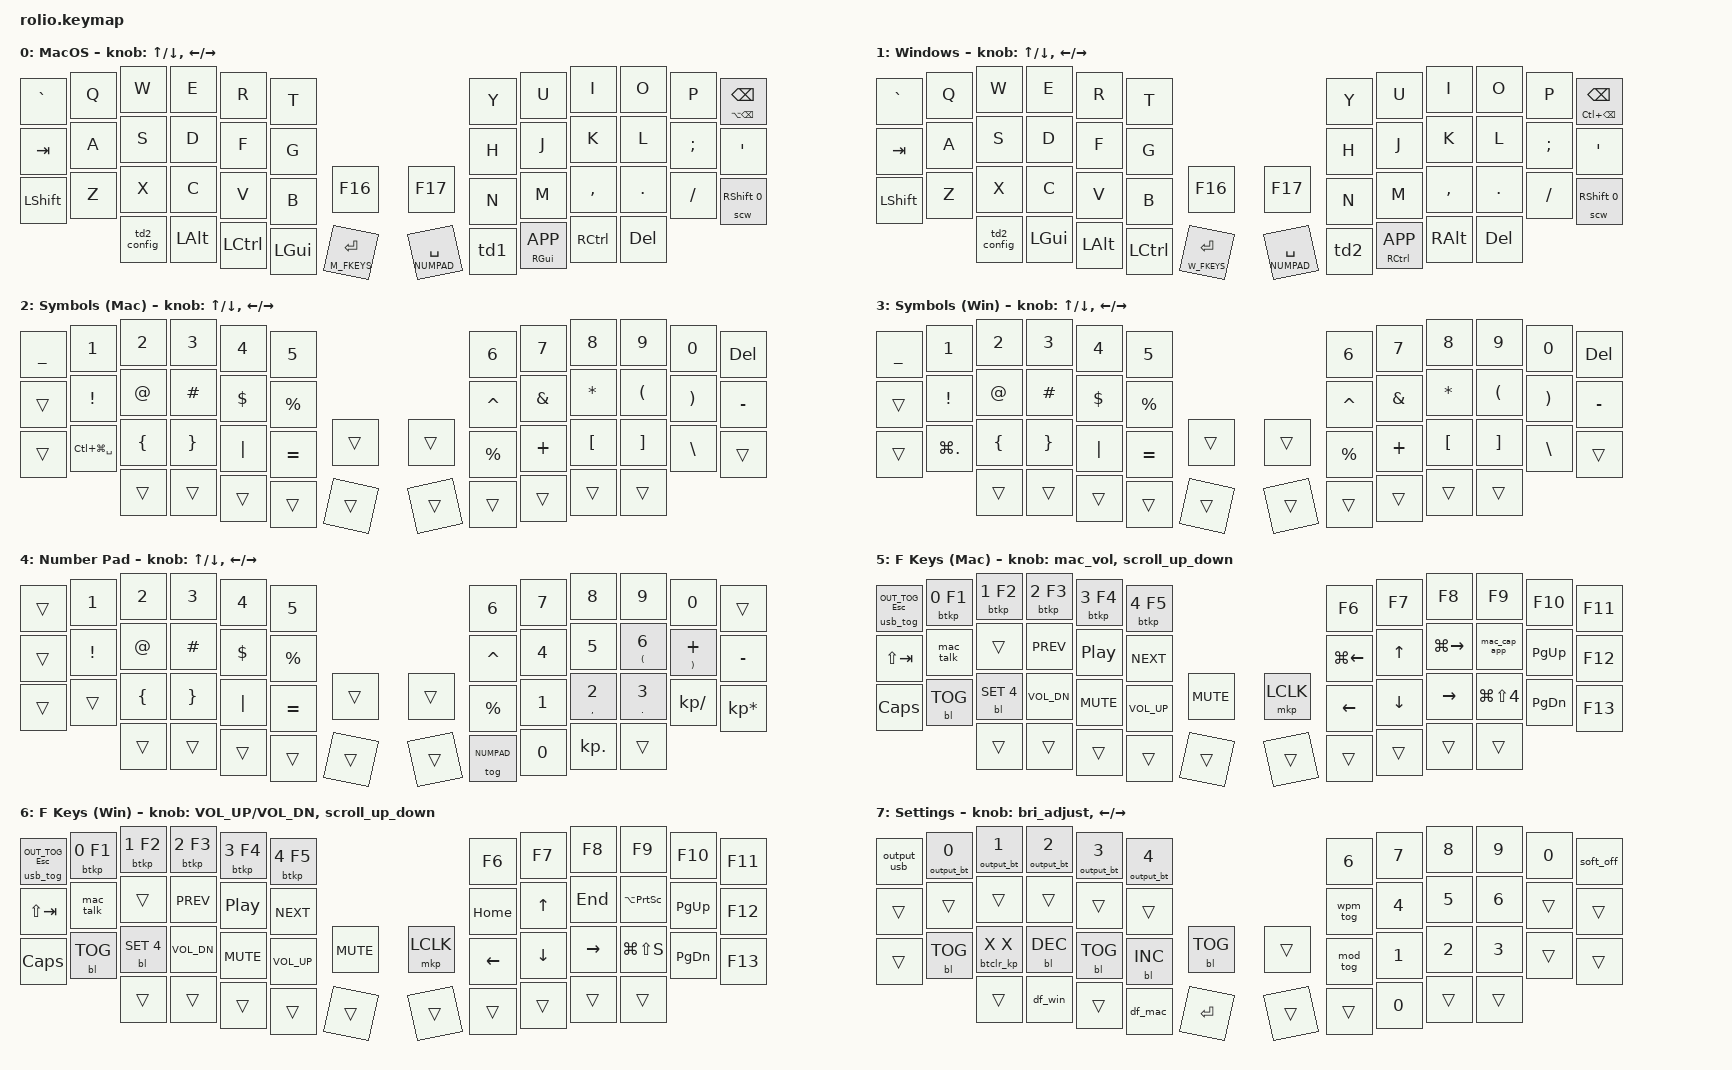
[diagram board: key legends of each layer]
/*
 * Copyright (c) 2023 The ZMK Contributors
 *
 * SPDX-License-Identifier: MIT
 */

#include <behaviors.dtsi>
#include <dt-bindings/zmk/keys.h>
#include <dt-bindings/zmk/bt.h>
#include <dt-bindings/zmk/outputs.h>
#include <dt-bindings/zmk/backlight.h>
#include "elpekenin/behaviors.dtsi"

#define ZMK_POINTING_DEFAULT_SCRL_VAL 100
#include <dt-bindings/zmk/pointing.h>

// Helpful macros borrowed from AndrewMSHowe
#define ___ &trans

// Layer numbers for use by the keymap & macros
#define MACOS     0
#define WINDOWS   1
#define M_SYMBOLS 2
#define W_SYMBOLS 3
#define NUMPAD    4
#define M_FKEYS   5
#define W_FKEYS   6
#define KB_CONFIG 7

#include "keymap_behaviors.dtsi"
#include "keymap_macros.dtsi"

/ {

    keymap {
        compatible = "zmk,keymap";

        default_layer {
            display-name = "MacOS";
            sensor-bindings = <&inc_dec_kp UP DOWN &inc_dec_kp LEFT RIGHT>;
            bindings = <
//  ╭──────────────────────────┬─────────────────┬─────────────────┬─────────────────┬─────────────────┬─────────────────╮                                          ╭─────────────────┬─────────────────┬─────────────────┬─────────────────┬─────────────────┬────────────────────╮
  /*|*/      &kp GRAVE                &kp Q             &kp W             &kp E             &kp R             &kp T    /*|                                          |*/    &kp Y             &kp U             &kp I             &kp O             &kp P       &mt LA(BSPC) BSPC /*|*/
  /*|*/       &kp TAB                 &kp A             &kp S             &kp D             &kp F             &kp G    /*├─────────────────╮      ╭─────────────────┤*/    &kp H             &kp J             &kp K             &kp L            &kp SEMI           &kp SQT     /*|*/
  /*|*/      &kp LSHIFT               &kp Z             &kp X             &kp C             &kp V             &kp B            &kp F16                  &kp F17            &kp N             &kp M           &kp COMMA          &kp DOT           &kp FSLH        &scw RSHIFT 0  /*|*/
  /*╰──────────────────────────┴─────────────────┴*/ &td2_config         &kp LALT         &kp LCTRL          &kp LGUI     &lt M_FKEYS ENTER         &lt NUMPAD SPACE        &td1         &mt RGUI K_APP      &kp RCTRL          &kp DEL   /*┴─────────────────┴────────────────────╯*/
//                                               ╰─────────────────┴─────────────────┴─────────────────┴─────────────────┴─────────────────╯      ╰─────────────────┴─────────────────┴─────────────────┴─────────────────┴─────────────────╯
            >;
        };

        windows_default_layer {
            display-name = "Windows";
            sensor-bindings = <&inc_dec_kp UP DOWN &inc_dec_kp LEFT RIGHT>;
            bindings = <
//  ╭──────────────────────────┬─────────────────┬─────────────────┬─────────────────┬─────────────────┬─────────────────╮                                          ╭─────────────────┬─────────────────┬─────────────────┬─────────────────┬─────────────────┬────────────────────╮
  /*|*/      &kp GRAVE                &kp Q             &kp W             &kp E             &kp R             &kp T    /*|                                          |*/    &kp Y             &kp U             &kp I             &kp O             &kp P       &mt LC(BSPC) BSPC /*|*/
  /*|*/       &kp TAB                 &kp A             &kp S             &kp D             &kp F             &kp G    /*├─────────────────╮      ╭─────────────────┤*/    &kp H             &kp J             &kp K             &kp L            &kp SEMI           &kp SQT     /*|*/
  /*|*/      &kp LSHIFT               &kp Z             &kp X             &kp C             &kp V             &kp B            &kp F16                  &kp F17            &kp N             &kp M           &kp COMMA          &kp DOT           &kp FSLH        &scw RSHIFT 0  /*|*/
  /*╰──────────────────────────┴─────────────────┴*/ &td2_config         &kp LGUI          &kp LALT         &kp LCTRL     &lt W_FKEYS ENTER         &lt NUMPAD SPACE        &td2        &mt RCTRL K_APP       &kp RALT          &kp DEL   /*┴─────────────────┴────────────────────╯*/
//                                               ╰─────────────────┴─────────────────┴─────────────────┴─────────────────┴─────────────────╯      ╰─────────────────┴─────────────────┴─────────────────┴─────────────────┴─────────────────╯
            >;
        };

        macos_symbols_layer {
            display-name = "Symbols (Mac)";
            sensor-bindings = <&inc_dec_kp UP DOWN &inc_dec_kp LEFT RIGHT>;
            bindings = <
//  ╭──────────────────────────┬─────────────────┬─────────────────┬─────────────────┬─────────────────┬─────────────────╮                                          ╭─────────────────┬─────────────────┬─────────────────┬─────────────────┬─────────────────┬────────────────────╮
  /*|*/      &kp UNDER                &kp N1            &kp N2            &kp N3            &kp N4            &kp N5   /*|                                          |*/    &kp N6            &kp N7            &kp N8            &kp N9            &kp N0            &kp DEL     /*|*/
  /*|*/         ___                  &kp EXCL           &kp AT           &kp HASH          &kp DLLR         &kp PRCNT  /*├─────────────────╮      ╭─────────────────┤*/  &kp CARET       &kp AMPERSAND        &kp STAR          &kp LPAR          &kp RPAR          &kp MINUS    /*|*/
  /*|*/         ___             &kp LC(LG(SPACE))   &kp LEFT_BRACE   &kp RIGHT_BRACE       &kp PIPE         &kp EQUAL            ___                      ___            &kp PRCNT          &kp PLUS          &kp LBKT          &kp RBKT       &kp BACKSLASH           ___       /*|*/
  /*╰──────────────────────────┴─────────────────┴*/     ___               ___               ___               ___               ___                      ___               ___               ___               ___               ___     /*┴─────────────────┴────────────────────╯*/
//                                               ╰─────────────────┴─────────────────┴─────────────────┴─────────────────┴─────────────────╯      ╰─────────────────┴─────────────────┴─────────────────┴─────────────────┴─────────────────╯
            >;
        };

        windows_symbols_layer {
            display-name = "Symbols (Win)";
            sensor-bindings = <&inc_dec_kp UP DOWN &inc_dec_kp LEFT RIGHT>;
            bindings = <
//  ╭──────────────────────────┬─────────────────┬─────────────────┬─────────────────┬─────────────────┬─────────────────╮                                          ╭─────────────────┬─────────────────┬─────────────────┬─────────────────┬─────────────────┬────────────────────╮
  /*|*/      &kp UNDER                &kp N1            &kp N2            &kp N3            &kp N4            &kp N5   /*|                                          |*/    &kp N6            &kp N7            &kp N8            &kp N9            &kp N0            &kp DEL     /*|*/
  /*|*/         ___                  &kp EXCL           &kp AT           &kp HASH          &kp DLLR         &kp PRCNT  /*├─────────────────╮      ╭─────────────────┤*/  &kp CARET       &kp AMPERSAND        &kp STAR          &kp LPAR          &kp RPAR          &kp MINUS    /*|*/
  /*|*/         ___                &kp LG(DOT)      &kp LEFT_BRACE   &kp RIGHT_BRACE       &kp PIPE         &kp EQUAL            ___                      ___            &kp PRCNT          &kp PLUS          &kp LBKT          &kp RBKT       &kp BACKSLASH           ___       /*|*/
  /*╰──────────────────────────┴─────────────────┴*/     ___               ___               ___               ___               ___                      ___               ___               ___               ___               ___     /*┴─────────────────┴────────────────────╯*/
//                                               ╰─────────────────┴─────────────────┴─────────────────┴─────────────────┴─────────────────╯      ╰─────────────────┴─────────────────┴─────────────────┴─────────────────┴─────────────────╯
            >;
        };

        numpad_layer {
            display-name = "Number Pad";
            sensor-bindings = <&inc_dec_kp UP DOWN &inc_dec_kp LEFT RIGHT>;
            bindings = <
//  ╭──────────────────────────┬─────────────────┬─────────────────┬─────────────────┬─────────────────┬─────────────────╮                                          ╭─────────────────┬─────────────────┬─────────────────┬─────────────────┬─────────────────┬────────────────────╮
  /*|*/         ___                   &kp N1            &kp N2            &kp N3            &kp N4            &kp N5   /*|                                          |*/    &kp N6            &kp N7            &kp N8            &kp N9            &kp N0              ___       /*|*/
  /*|*/         ___                  &kp EXCL           &kp AT           &kp HASH          &kp DLLR         &kp PRCNT  /*├─────────────────╮      ╭─────────────────┤*/  &kp CARET           &kp N4            &kp N5         &mt LPAR N6      &mt RPAR PLUS        &kp MINUS    /*|*/
  /*|*/         ___                    ___          &kp LEFT_BRACE   &kp RIGHT_BRACE       &kp PIPE         &kp EQUAL            ___                      ___            &kp PRCNT           &kp N1         &mt COMMA N2       &mt DOT N3      &kp KP_DIVIDE     &kp KP_MULTIPLY /*|*/
  /*╰──────────────────────────┴─────────────────┴*/     ___               ___               ___               ___               ___                      ___           &tog NUMPAD          &kp N0          &kp KP_DOT           ___     /*┴─────────────────┴────────────────────╯*/
//                                               ╰─────────────────┴─────────────────┴─────────────────┴─────────────────┴─────────────────╯      ╰─────────────────┴─────────────────┴─────────────────┴─────────────────┴─────────────────╯
            >;
        };

        macos_f_keys_layer {
            display-name = "F Keys (Mac)";
            sensor-bindings = <&mac_vol &scroll_up_down>;
            bindings = <
//  ╭──────────────────────────┬─────────────────┬─────────────────┬─────────────────┬─────────────────┬─────────────────╮                                          ╭─────────────────┬─────────────────┬─────────────────┬─────────────────┬─────────────────┬────────────────────╮
  /*|*/ &usb_tog OUT_TOG ESCAPE     &btkp 0 F1        &btkp 1 F2        &btkp 2 F3        &btkp 3 F4        &btkp 4 F5 /*|                                          |*/    &kp F6            &kp F7            &kp F8            &kp F9           &kp F10            &kp F11     /*|*/
  /*|*/     &kp LS(TAB)             &mac_talk            ___            &kp C_PREV         &kp C_PP         &kp C_NEXT /*├─────────────────╮      ╭─────────────────┤*/ &kp LG(LEFT)         &kp UP        &kp LG(RIGHT)      &mac_cap_app       &kp PG_UP           &kp F12     /*|*/
  /*|*/       &kp CAPS              &bl BL_TOG       &bl BL_SET 4      &kp C_VOL_DN       &kp C_MUTE      &kp C_VOL_UP        &kp C_MUTE               &mkp LCLK          &kp LEFT          &kp DOWN         &kp RIGHT       &kp LG(LS(N4))      &kp PG_DN           &kp F13     /*|*/
  /*╰──────────────────────────┴─────────────────┴*/     ___               ___               ___               ___               ___                      ___               ___               ___               ___               ___     /*┴─────────────────┴────────────────────╯*/
//                                               ╰─────────────────┴─────────────────┴─────────────────┴─────────────────┴─────────────────╯      ╰─────────────────┴─────────────────┴─────────────────┴─────────────────┴─────────────────╯
            >;
        };

        windows_f_keys_layer {
            display-name = "F Keys (Win)";
            sensor-bindings = <&inc_dec_kp C_VOL_UP C_VOL_DN &scroll_up_down>;
            bindings = <
//  ╭──────────────────────────┬─────────────────┬─────────────────┬─────────────────┬─────────────────┬─────────────────╮                                          ╭─────────────────┬─────────────────┬─────────────────┬─────────────────┬─────────────────┬────────────────────╮
  /*|*/ &usb_tog OUT_TOG ESCAPE     &btkp 0 F1        &btkp 1 F2        &btkp 2 F3        &btkp 3 F4        &btkp 4 F5 /*|                                          |*/    &kp F6            &kp F7            &kp F8            &kp F9           &kp F10            &kp F11     /*|*/
  /*|*/     &kp LS(TAB)             &mac_talk            ___            &kp C_PREV         &kp C_PP         &kp C_NEXT /*├─────────────────╮      ╭─────────────────┤*/   &kp HOME           &kp UP           &kp END        &kp LA(PSCRN)       &kp PG_UP           &kp F12     /*|*/
  /*|*/       &kp CAPS              &bl BL_TOG       &bl BL_SET 4      &kp C_VOL_DN       &kp C_MUTE      &kp C_VOL_UP        &kp C_MUTE               &mkp LCLK          &kp LEFT          &kp DOWN         &kp RIGHT       &kp LG(LS(S))       &kp PG_DN           &kp F13     /*|*/
  /*╰──────────────────────────┴─────────────────┴*/     ___               ___               ___               ___               ___                      ___               ___               ___               ___               ___     /*┴─────────────────┴────────────────────╯*/
//                                               ╰─────────────────┴─────────────────┴─────────────────┴─────────────────┴─────────────────╯      ╰─────────────────┴─────────────────┴─────────────────┴─────────────────┴─────────────────╯
            >;

        };

        settings_layer {
            display-name = "Settings";
            sensor-bindings = <&bri_adjust &inc_dec_kp LEFT RIGHT>;
            bindings = <
//  ╭──────────────────────────┬─────────────────┬─────────────────┬─────────────────┬─────────────────┬─────────────────╮                                          ╭─────────────────┬─────────────────┬─────────────────┬─────────────────┬─────────────────┬────────────────────╮
  /*|*/     &output_usb            &output_bt 0      &output_bt 1      &output_bt 2      &output_bt 3     &output_bt 4 /*|                                          |*/    &kp N6            &kp N7            &kp N8            &kp N9            &kp N0           &soft_off    /*|*/
  /*|*/         ___                    ___               ___               ___               ___               ___     /*├─────────────────╮      ╭─────────────────┤*/   &wpm_tog           &kp N4            &kp N5            &kp N6             ___                ___       /*|*/
  /*|*/         ___                 &bl BL_TOG      &btclr_kp X X       &bl BL_DEC        &bl BL_TOG        &bl BL_INC        &bl BL_TOG                  ___             &mod_tog           &kp N1            &kp N2            &kp N3             ___                ___       /*|*/
  /*╰──────────────────────────┴─────────────────┴*/     ___             &df_win             ___             &df_mac          &kp ENTER                   ___               ___              &kp N0             ___               ___     /*┴─────────────────┴────────────────────╯*/
//                                               ╰─────────────────┴─────────────────┴─────────────────┴─────────────────┴─────────────────╯      ╰─────────────────┴─────────────────┴─────────────────┴─────────────────┴─────────────────╯
            >;
        };

        // Extra layers for ZMK Studio
        extra1 {
            status = "reserved";
        };
        extra2 {
            status = "reserved";
        };
        extra3 {
            status = "reserved";
        };

    };

};
